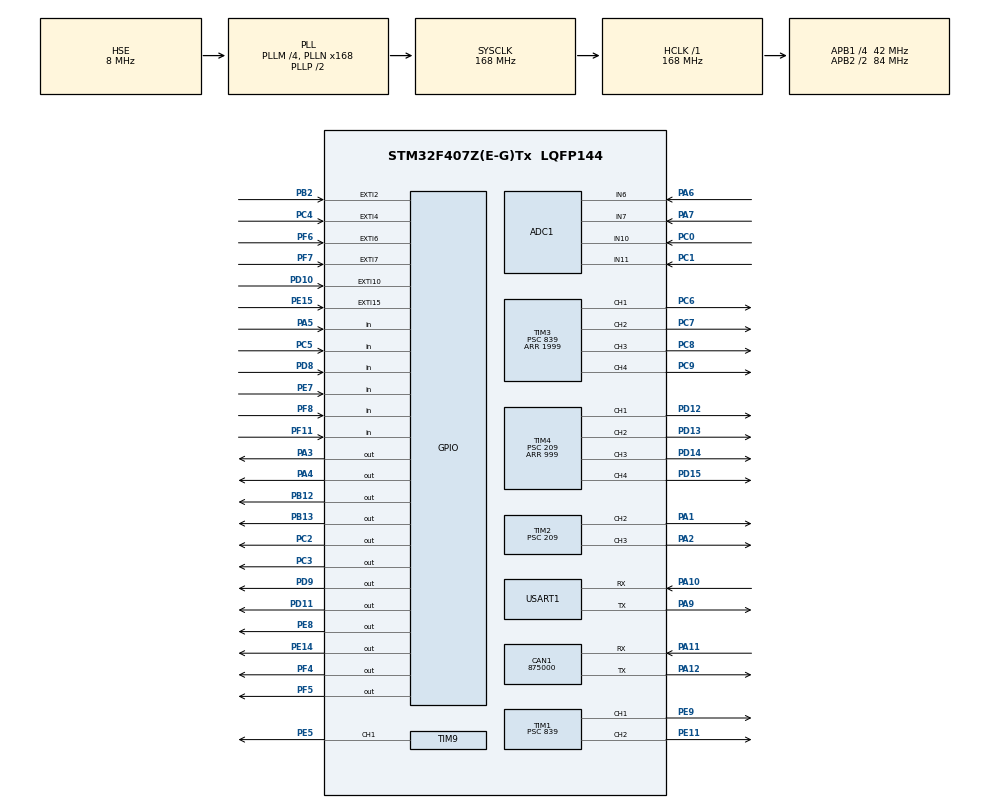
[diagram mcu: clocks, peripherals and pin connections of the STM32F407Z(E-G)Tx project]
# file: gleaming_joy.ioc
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ADC1.Channel-0\#ChannelRegularConversion=ADC_CHANNEL_6
ADC1.Channel-1\#ChannelRegularConversion=ADC_CHANNEL_7
ADC1.Channel-2\#ChannelRegularConversion=ADC_CHANNEL_10
ADC1.Channel-3\#ChannelRegularConversion=ADC_CHANNEL_11
ADC1.ContinuousConvMode=ENABLE
ADC1.DMAContinuousRequests=ENABLE
ADC1.DiscontinuousConvMode=DISABLE
ADC1.NbrOfConversion=4
ADC1.NbrOfConversionFlag=1
ADC1.Rank-0\#ChannelRegularConversion=1
ADC1.Rank-1\#ChannelRegularConversion=2
ADC1.Rank-2\#ChannelRegularConversion=3
ADC1.Rank-3\#ChannelRegularConversion=4
ADC1.SamplingTime-0\#ChannelRegularConversion=ADC_SAMPLETIME_3CYCLES
ADC1.SamplingTime-1\#ChannelRegularConversion=ADC_SAMPLETIME_3CYCLES
ADC1.SamplingTime-2\#ChannelRegularConversion=ADC_SAMPLETIME_3CYCLES
ADC1.SamplingTime-3\#ChannelRegularConversion=ADC_SAMPLETIME_3CYCLES
ADC1.ScanConvMode=ENABLE
ADC1.master=1
CAN1.CalculateBaudRate=875000
CAN1.CalculateTimeBit=1142
CAN1.CalculateTimeQuantum=380.95238095238096
Dma.ADC1.0.Direction=DMA_PERIPH_TO_MEMORY
Dma.ADC1.0.FIFOMode=DMA_FIFOMODE_ENABLE
Dma.ADC1.0.FIFOThreshold=DMA_FIFO_THRESHOLD_FULL
Dma.ADC1.0.Instance=DMA2_Stream0
Dma.ADC1.0.MemBurst=DMA_MBURST_SINGLE
Dma.ADC1.0.MemDataAlignment=DMA_MDATAALIGN_HALFWORD
Dma.ADC1.0.MemInc=DMA_MINC_ENABLE
Dma.ADC1.0.Mode=DMA_CIRCULAR
Dma.ADC1.0.PeriphBurst=DMA_PBURST_SINGLE
Dma.ADC1.0.PeriphDataAlignment=DMA_PDATAALIGN_HALFWORD
Dma.ADC1.0.PeriphInc=DMA_PINC_DISABLE
Dma.ADC1.0.Priority=DMA_PRIORITY_LOW
Dma.Request0=ADC1
Mcu.Family=STM32F4
Mcu.Name=STM32F407Z(E-G)Tx
Mcu.Package=LQFP144
NVIC.DMA2_Stream0_IRQn=true\:0\:0\:false\:false\:true\:false\:true\:true
NVIC.PriorityGroup=NVIC_PRIORITYGROUP_4
PA1.Signal=S_TIM2_CH2
PA10.Mode=Asynchronous
PA10.Signal=USART1_RX
PA11.Mode=CAN_Activate
PA11.Signal=CAN1_RX
PA12.Mode=CAN_Activate
PA12.Signal=CAN1_TX
PA13.Mode=Serial_Wire
PA13.Signal=SYS_JTMS-SWDIO
PA14.Mode=Serial_Wire
PA14.Signal=SYS_JTCK-SWCLK
PA2.Signal=S_TIM2_CH3
PA3.Signal=GPIO_Output
PA4.Signal=GPIO_Output
PA5.GPIO_PuPd=GPIO_PULLUP
PA5.Signal=GPIO_Input
PA6.Signal=ADCx_IN6
PA7.Signal=ADCx_IN7
PA9.Mode=Asynchronous
PA9.Signal=USART1_TX
PB12.Signal=GPIO_Output
PB13.Signal=GPIO_Output
PB2.GPIO_PuPd=GPIO_PULLDOWN
PB2.Signal=GPXTI2
PC0.Signal=ADCx_IN10
PC1.Signal=ADCx_IN11
PC2.Signal=GPIO_Output
PC3.Signal=GPIO_Output
PC4.GPIO_PuPd=GPIO_PULLDOWN
PC4.Signal=GPXTI4
PC5.GPIO_PuPd=GPIO_PULLUP
PC5.Signal=GPIO_Input
PC6.Signal=S_TIM3_CH1
PC7.Signal=S_TIM3_CH2
PC8.Signal=S_TIM3_CH3
PC9.Signal=S_TIM3_CH4
PD10.GPIO_PuPd=GPIO_PULLDOWN
PD10.Signal=GPXTI10
PD11.Signal=GPIO_Output
PD12.Signal=S_TIM4_CH1
PD13.Signal=S_TIM4_CH2
PD14.Signal=S_TIM4_CH3
PD15.Signal=S_TIM4_CH4
PD8.GPIO_PuPd=GPIO_PULLUP
PD8.Signal=GPIO_Input
PD9.Signal=GPIO_Output
PE11.Signal=S_TIM1_CH2
PE14.Signal=GPIO_Output
PE15.GPIO_PuPd=GPIO_PULLDOWN
PE15.Signal=GPXTI15
PE5.Signal=S_TIM9_CH1
PE7.GPIO_PuPd=GPIO_PULLUP
PE7.Signal=GPIO_Input
PE8.Signal=GPIO_Output
PE9.Signal=S_TIM1_CH1
PF11.GPIO_PuPd=GPIO_PULLUP
PF11.Signal=GPIO_Input
PF4.Signal=GPIO_Output
PF5.Signal=GPIO_Output
PF6.GPIO_PuPd=GPIO_PULLDOWN
PF6.Signal=GPXTI6
PF7.GPIO_PuPd=GPIO_PULLDOWN
PF7.Signal=GPXTI7
PF8.Signal=GPIO_Input
PH0-OSC_IN.Mode=HSE-External-Oscillator
PH0-OSC_IN.Signal=RCC_OSC_IN
PH1-OSC_OUT.Mode=HSE-External-Oscillator
PH1-OSC_OUT.Signal=RCC_OSC_OUT
ProjectManager.HeapSize=0x200
ProjectManager.StackSize=0x400
ProjectManager.TargetToolchain=MDK-ARM V5.32
RCC.48MHZClocksFreq_Value=84000000
RCC.AHBFreq_Value=168000000
RCC.APB1CLKDivider=RCC_HCLK_DIV4
RCC.APB1Freq_Value=42000000
RCC.APB1TimFreq_Value=84000000
RCC.APB2CLKDivider=RCC_HCLK_DIV2
RCC.APB2Freq_Value=84000000
RCC.APB2TimFreq_Value=168000000
RCC.CortexFreq_Value=168000000
RCC.HCLKFreq_Value=168000000
RCC.HSE_VALUE=8000000
RCC.HSI_VALUE=16000000
RCC.LSE_VALUE=32768
RCC.PLLM=4
RCC.PLLN=168
RCC.PLLSourceVirtual=RCC_PLLSOURCE_HSE
RCC.SYSCLKFreq_VALUE=168000000
RCC.SYSCLKSource=RCC_SYSCLKSOURCE_PLLCLK
RCC.VCOOutputFreq_Value=336000000
SH.ADCx_IN10.0=ADC1_IN10,IN10
SH.ADCx_IN11.0=ADC1_IN11,IN11
SH.ADCx_IN6.0=ADC1_IN6,IN6
SH.ADCx_IN7.0=ADC1_IN7,IN7
SH.S_TIM1_CH1.0=TIM1_CH1,Output Compare1 CH1
SH.S_TIM1_CH2.0=TIM1_CH2,Output Compare2 CH2
SH.S_TIM2_CH2.0=TIM2_CH2,PWM Generation2 CH2
SH.S_TIM2_CH3.0=TIM2_CH3,PWM Generation3 CH3
SH.S_TIM3_CH1.0=TIM3_CH1,PWM Generation1 CH1
SH.S_TIM3_CH2.0=TIM3_CH2,PWM Generation2 CH2
SH.S_TIM3_CH3.0=TIM3_CH3,PWM Generation3 CH3
SH.S_TIM3_CH4.0=TIM3_CH4,PWM Generation4 CH4
SH.S_TIM4_CH1.0=TIM4_CH1,PWM Generation1 CH1
SH.S_TIM4_CH2.0=TIM4_CH2,PWM Generation2 CH2
SH.S_TIM4_CH3.0=TIM4_CH3,PWM Generation3 CH3
SH.S_TIM4_CH4.0=TIM4_CH4,PWM Generation4 CH4
SH.S_TIM9_CH1.0=TIM9_CH1,PWM Generation1 CH1
TIM1.Channel-Output\ Compare1\ CH1=TIM_CHANNEL_1
TIM1.Channel-Output\ Compare2\ CH2=TIM_CHANNEL_2
TIM1.Period=1999
TIM1.Prescaler=839
TIM2.Channel-PWM\ Generation2\ CH2=TIM_CHANNEL_2
TIM2.Channel-PWM\ Generation3\ CH3=TIM_CHANNEL_3
TIM2.Period=999
TIM2.Prescaler=209
TIM3.Channel-PWM\ Generation1\ CH1=TIM_CHANNEL_1
TIM3.Channel-PWM\ Generation2\ CH2=TIM_CHANNEL_2
TIM3.Channel-PWM\ Generation3\ CH3=TIM_CHANNEL_3
TIM3.Channel-PWM\ Generation4\ CH4=TIM_CHANNEL_4
TIM3.Period=1999
TIM3.Prescaler=839
TIM4.Channel-PWM\ Generation1\ CH1=TIM_CHANNEL_1
TIM4.Channel-PWM\ Generation2\ CH2=TIM_CHANNEL_2
TIM4.Channel-PWM\ Generation3\ CH3=TIM_CHANNEL_3
TIM4.Channel-PWM\ Generation4\ CH4=TIM_CHANNEL_4
TIM4.Period=999
TIM4.Prescaler=209
TIM9.Channel-PWM\ Generation1\ CH1=TIM_CHANNEL_1
TIM9.OCPolarity_1=TIM_OCPOLARITY_LOW
TIM9.Period=499
TIM9.Prescaler=83
USART1.VirtualMode=VM_ASYNC
VP_TIM1_VS_ClockSourceINT.Mode=Internal
VP_TIM2_VS_ClockSourceINT.Mode=Internal
VP_TIM3_VS_ClockSourceINT.Mode=Internal
VP_TIM4_VS_ClockSourceINT.Mode=Internal
VP_TIM9_VS_ClockSourceINT.Mode=Internal
VP_TIM9_VS_OPM.Mode=OPM_bit
board=custom

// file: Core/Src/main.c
/* USER CODE BEGIN Header */
/**
  ******************************************************************************
  * @file           : main.c
  * @brief          : Main program body
  ******************************************************************************
  * @attention
  *
  * Copyright (c) 2023 STMicroelectronics.
  * All rights reserved.
  *
  * This software is licensed under terms that can be found in the LICENSE file
  * in the root directory of this software component.
  * If no LICENSE file comes with this software, it is provided AS-IS.
  *
  ******************************************************************************
  */
/* USER CODE END Header */
#include "main.h"
#include "adc.h"
#include "can.h"
#include "dma.h"
#include "tim.h"
#include "usart.h"
#include "gpio.h"

/* USER CODE BEGIN Includes */

#include "chassis.hpp"

/* USER CODE END Includes */

/* USER CODE BEGIN PV */

Class_Chassis Chassis;
uint16_t ADC_Value[4];
uint8_t ADC_Bool[4];

/* USER CODE END PV */

void SystemClock_Config(void);

int main(void)
{

  /* MCU Configuration--------------------------------------------------------*/

  /* Reset of all peripherals, Initializes the Flash interface and the Systick. */
  HAL_Init();

  /* Configure the system clock */
  SystemClock_Config();

  /* Initialize all configured peripherals */
  MX_GPIO_Init();
  MX_DMA_Init();
  MX_TIM2_Init();
  MX_TIM3_Init();
  MX_TIM4_Init();
  MX_TIM1_Init();
  MX_TIM9_Init();
  MX_USART1_UART_Init();
  MX_CAN1_Init();
  MX_ADC1_Init();
  /* USER CODE BEGIN 2 */

  //底盘初始化
  Chassis.Init(CHASSIS_MOTOR_PWM_DRIVER_TIM, CHASSIS_MOTOR_CALCULATE_TIM);
  Chassis.Set_Control_Method(Control_Method_OPENLOOP);

  //使能计算时钟
  HAL_TIM_Base_Start_IT(&CHASSIS_MOTOR_CALCULATE_TIM);

  //使能ADC
  HAL_ADC_Start_DMA(&hadc1, (uint32_t*)ADC_Value, 4);

  /* USER CODE END 2 */

  /* Infinite loop */
  /* USER CODE BEGIN WHILE */

  SpeedTypeDef v_front=
  {
    0, 0.3, 0
  };

  SpeedTypeDef v_back=
  {
    0, -0.3, 0
  };

  SpeedTypeDef v_right=
  {
    0.3, 0, 0
  };

  SpeedTypeDef v_left=
  {
    -0.3, 0, 0
  };

  SpeedTypeDef v_rotate=
  {
    0, 0, 0.6
  };

  SpeedTypeDef v_crotate=
  {
    0, 0, -0.6
  };

  SpeedTypeDef v_stop=
  {
    0, 0, 0
  };

  Chassis.Set_Velocity(v_stop);
  HAL_Delay(1000);

  while (1)
  {

    /* USER CODE END WHILE */

    /* USER CODE BEGIN 3 */

    // 巡线模块调参
    if (ADC_Value[0] < 400)
    {
      ADC_Bool[0] = 0;
    }
    else if (ADC_Value[0] > 600)
    {
      ADC_Bool[0] = 1;
    }

    if (ADC_Value[1] < 400)
    {
      ADC_Bool[1] = 0;
    }
    else if (ADC_Value[1] > 600)
    {
      ADC_Bool[1] = 1;
    }

    if (ADC_Value[2] < 400)
    {
      ADC_Bool[2] = 0;
    }
    else if (ADC_Value[2] > 600)
    {
      ADC_Bool[2] = 1;
    }

    if (ADC_Value[3] < 400)
    {
      ADC_Bool[3] = 0;
    }
    else if (ADC_Value[3] > 600)
    {
      ADC_Bool[3] = 1;
    }

    // 底盘运动
    // 向前运动
    if (ADC_Bool[0] == 0 && ADC_Bool[1] == 1 && ADC_Bool[2] == 1 && ADC_Bool[3] == 0)
    {
      Chassis.Set_Velocity(v_front);
      Chassis.Calculate_TIM_PeriodElapsedCallback();
    }
    // 右转
    else if (ADC_Bool[0] == 1 && ADC_Bool[1] == 1 && ADC_Bool[2] == 1 && ADC_Bool[3] == 0)
    {
      Chassis.Set_Velocity(v_rotate);
      Chassis.Calculate_TIM_PeriodElapsedCallback();
      HAL_Delay(50000);
      Chassis.Set_Velocity(v_left);
      Chassis.Calculate_TIM_PeriodElapsedCallback();
    }
    // 左转
    else if (ADC_Bool[0] == 0 && ADC_Bool[1] == 1 && ADC_Bool[2] == 1 && ADC_Bool[3] == 1)
    {
      Chassis.Set_Velocity(v_crotate);
      Chassis.Calculate_TIM_PeriodElapsedCallback();
      HAL_Delay(50000);
      Chassis.Set_Velocity(v_right);
      Chassis.Calculate_TIM_PeriodElapsedCallback();
    }
    // // 车头向右偏
    // else if (ADC_Bool[0] == 0 && ADC_Bool[1] == 0 && ADC_Bool[2] == 1 && ADC_Bool[3] == 0)
    // {
    //   while (1)
    //   {
    //     if (ADC_Bool[0] == 0 && ADC_Bool[1] == 1 && ADC_Bool[2] == 1 && ADC_Bool[3] == 0)
    //     {
    //       break;
    //     }
    //     Chassis.Set_Velocity(v_crotate);
    //     Chassis.Calculate_TIM_PeriodElapsedCallback();
    //   }
    // }
    // // 车头向左偏
    // else if (ADC_Bool[0] == 0 && ADC_Bool[1] == 1 && ADC_Bool[2] == 0 && ADC_Bool[3] == 0)
    // {
    //   while (1)
    //   {
    //     if (ADC_Bool[0] == 0 && ADC_Bool[1] == 1 && ADC_Bool[2] == 1 && ADC_Bool[3] == 0)
    //     {
    //       break;
    //     }
    //     Chassis.Set_Velocity(v_rotate);
    //     Chassis.Calculate_TIM_PeriodElapsedCallback();
    //   }
    // }
    // 停下
    else if (ADC_Bool[0] == 0 && ADC_Bool[1] == 0 && ADC_Bool[2] == 0 && ADC_Bool[3] == 0)
    {
      Chassis.Set_Velocity(v_stop);
      Chassis.Calculate_TIM_PeriodElapsedCallback();
    }

  }
  /* USER CODE END 3 */
}

void SystemClock_Config(void)
{
  RCC_OscInitTypeDef RCC_OscInitStruct = {0};
  RCC_ClkInitTypeDef RCC_ClkInitStruct = {0};

  /** Configure the main internal regulator output voltage
  */
  __HAL_RCC_PWR_CLK_ENABLE();
  __HAL_PWR_VOLTAGESCALING_CONFIG(PWR_REGULATOR_VOLTAGE_SCALE1);

  /** Initializes the RCC Oscillators according to the specified parameters
  * in the RCC_OscInitTypeDef structure.
  */
  RCC_OscInitStruct.OscillatorType = RCC_OSCILLATORTYPE_HSE;
  RCC_OscInitStruct.HSEState = RCC_HSE_ON;
  RCC_OscInitStruct.PLL.PLLState = RCC_PLL_ON;
  RCC_OscInitStruct.PLL.PLLSource = RCC_PLLSOURCE_HSE;
  RCC_OscInitStruct.PLL.PLLM = 4;
  RCC_OscInitStruct.PLL.PLLN = 168;
  RCC_OscInitStruct.PLL.PLLP = RCC_PLLP_DIV2;
  RCC_OscInitStruct.PLL.PLLQ = 4;
  if (HAL_RCC_OscConfig(&RCC_OscInitStruct) != HAL_OK)
  {
    Error_Handler();
  }

  /** Initializes the CPU, AHB and APB buses clocks
  */
  RCC_ClkInitStruct.ClockType = RCC_CLOCKTYPE_HCLK|RCC_CLOCKTYPE_SYSCLK
                              |RCC_CLOCKTYPE_PCLK1|RCC_CLOCKTYPE_PCLK2;
  RCC_ClkInitStruct.SYSCLKSource = RCC_SYSCLKSOURCE_PLLCLK;
  RCC_ClkInitStruct.AHBCLKDivider = RCC_SYSCLK_DIV1;
  RCC_ClkInitStruct.APB1CLKDivider = RCC_HCLK_DIV4;
  RCC_ClkInitStruct.APB2CLKDivider = RCC_HCLK_DIV2;

  if (HAL_RCC_ClockConfig(&RCC_ClkInitStruct, FLASH_LATENCY_5) != HAL_OK)
  {
    Error_Handler();
  }
}

void Error_Handler(void)
{
  __disable_irq();
  while (1)
  {
  }
}
